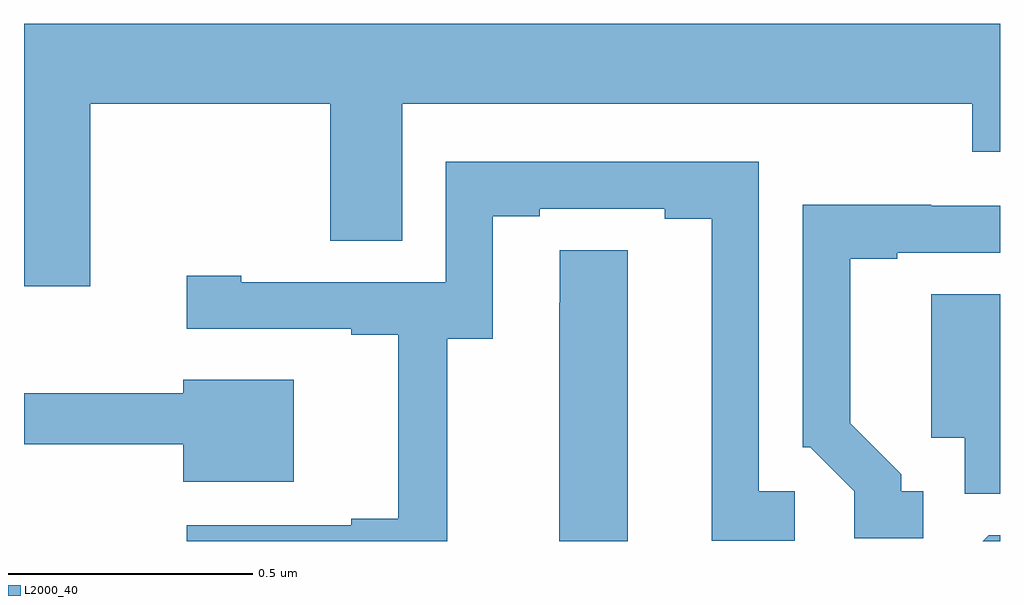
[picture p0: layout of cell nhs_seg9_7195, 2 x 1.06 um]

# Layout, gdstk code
import gdstk
lib = gdstk.Library(unit=1e-6, precision=1e-09)
def P(c, l, *ps):  # polygons
    for p in ps: c.add(gdstk.Polygon(p, *l))
L2000_40 = (2000, 40)

nhs_seg9_7195 = lib.new_cell('nhs_seg9_7195')
P(nhs_seg9_7195, L2000_40, [(201.136,1220.396),(201.628,1220.396),(201.628,1220.116),(201.775,1220.116),(201.775,1220.396),(202.943,1220.396),(202.943,1220.298),(203,1220.298),(203,1220.56),(201,1220.56),(201,1220.022),(201.136,1220.022)],
  [(201.867,1219.915),(201.961,1219.915),(201.961,1220.166),(202.057,1220.166),(202.057,1220.181),(202.313,1220.181),(202.313,1220.161),(202.409,1220.161),(202.409,1219.501),(202.579,1219.501),(202.579,1219.602),(202.506,1219.602),(202.506,1220.277),(201.864,1220.277),(201.864,1220.031),(201.445,1220.031),(201.445,1220.044),(201.333,1220.044),(201.333,1219.935),(201.671,1219.935),(201.671,1219.923),(201.767,1219.923),(201.767,1219.546),(201.671,1219.546),(201.671,1219.533),(201.333,1219.533),(201.333,1219.5),(201.867,1219.5)],
  [(202.843,1219.602),(202.798,1219.602),(202.798,1219.637),(202.693,1219.742),(202.693,1220.079),(202.789,1220.079),(202.789,1220.091),(203,1220.091),(203,1220.187),(202.859,1220.187),(202.859,1220.189),(202.596,1220.189),(202.596,1219.692),(202.611,1219.692),(202.701,1219.602),(202.701,1219.506),(202.843,1219.506)],
  [(202.237,1220.096),(202.098,1220.096),(202.098,1219.988),(202.097,1219.988),(202.097,1219.5),(202.237,1219.5)],
  [(203,1220.006),(202.859,1220.006),(202.859,1219.712),(202.928,1219.712),(202.928,1219.597),(203,1219.597)],
  [(201.553,1219.831),(201.326,1219.831),(201.326,1219.803),(201,1219.803),(201,1219.699),(201.326,1219.699),(201.326,1219.622),(201.553,1219.622)],
  [(203,1219.512),(202.977,1219.512),(202.965,1219.5),(203,1219.5)])

lib.write_gds('nhs_seg9_7195.gds')
